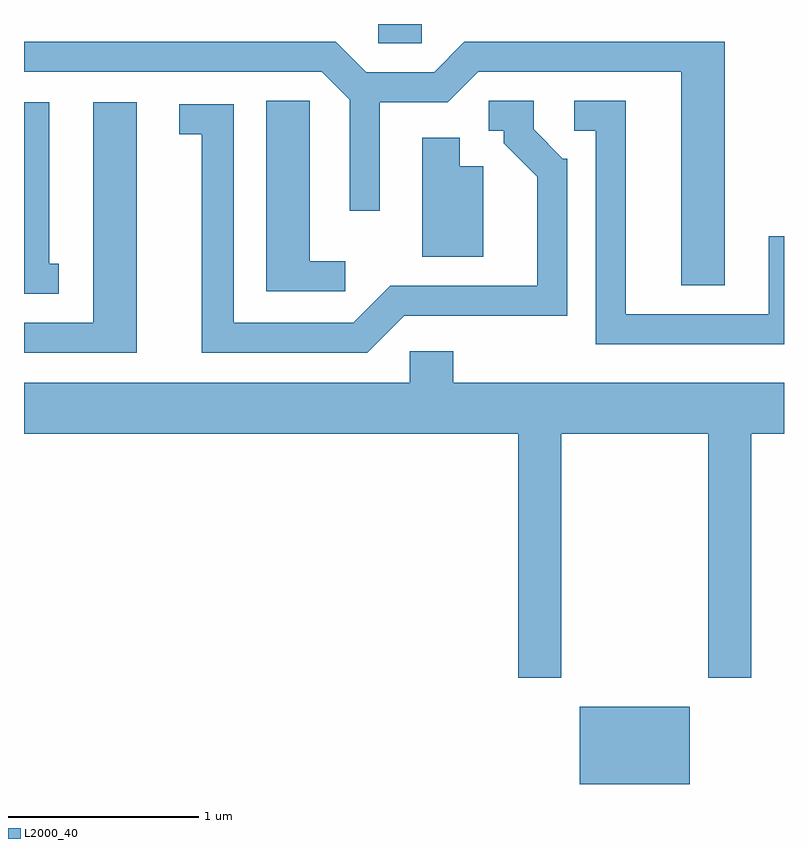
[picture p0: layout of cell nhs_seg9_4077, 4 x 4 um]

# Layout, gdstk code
import gdstk
lib = gdstk.Library(unit=1e-6, precision=1e-09)
def R(c, l, rs):  # rectangles x0, y0, x1, y1
    for r in rs: c.add(gdstk.rectangle(r[:2], r[2:], *l))
def P(c, l, *ps):  # polygons
    for p in ps: c.add(gdstk.Polygon(p, *l))
L2000_40 = (2000, 40)

nhs_seg9_4077 = lib.new_cell('nhs_seg9_4077')
R(nhs_seg9_4077, L2000_40, [(308.536,1974.432,309.114,1974.839), (307.476,1978.331,307.704,1978.432)])
P(nhs_seg9_4077, L2000_40, [(309.299,1978.339),(307.929,1978.339),(307.769,1978.179),(307.412,1978.179),(307.252,1978.339),(305.611,1978.339),(305.611,1978.181),(307.179,1978.181),(307.326,1978.034),(307.326,1977.448),(307.484,1977.448),(307.484,1978.021),(307.842,1978.021),(308.002,1978.181),(309.071,1978.181),(309.071,1977.056),(309.299,1977.056)],
  [(307.612,1976.896),(308.469,1976.896),(308.469,1977.724),(308.447,1977.724),(308.294,1977.877),(308.294,1978.029),(308.058,1978.029),(308.058,1977.871),(308.136,1977.871),(308.136,1977.804),(308.311,1977.629),(308.311,1977.054),(307.539,1977.054),(307.344,1976.859),(306.714,1976.859),(306.714,1978.009),(306.428,1978.009),(306.428,1977.851),(306.546,1977.851),(306.546,1976.701),(307.417,1976.701)],
  [(307.303,1977.184),(307.114,1977.184),(307.114,1978.029),(306.886,1978.029),(306.886,1977.026),(307.303,1977.026)],
  [(309.611,1977.314),(309.531,1977.314),(309.531,1976.904),(308.779,1976.904),(308.779,1978.029),(308.508,1978.029),(308.508,1977.871),(308.621,1977.871),(308.621,1976.746),(309.611,1976.746)],
  [(305.793,1977.169),(305.744,1977.169),(305.744,1978.019),(305.611,1978.019),(305.611,1977.011),(305.793,1977.011)],
  [(306.204,1978.019),(305.976,1978.019),(305.976,1976.859),(305.611,1976.859),(305.611,1976.701),(306.204,1976.701)],
  [(308.029,1977.684),(307.904,1977.684),(307.904,1977.834),(307.706,1977.834),(307.706,1977.206),(308.029,1977.206)],
  [(308.439,1976.276),(309.211,1976.276),(309.211,1974.991),(309.439,1974.991),(309.439,1976.276),(309.611,1976.276),(309.611,1976.544),(307.869,1976.544),(307.869,1976.709),(307.641,1976.709),(307.641,1976.544),(305.611,1976.544),(305.611,1976.276),(308.211,1976.276),(308.211,1974.991),(308.439,1974.991)])

lib.write_gds('nhs_seg9_4077.gds')
